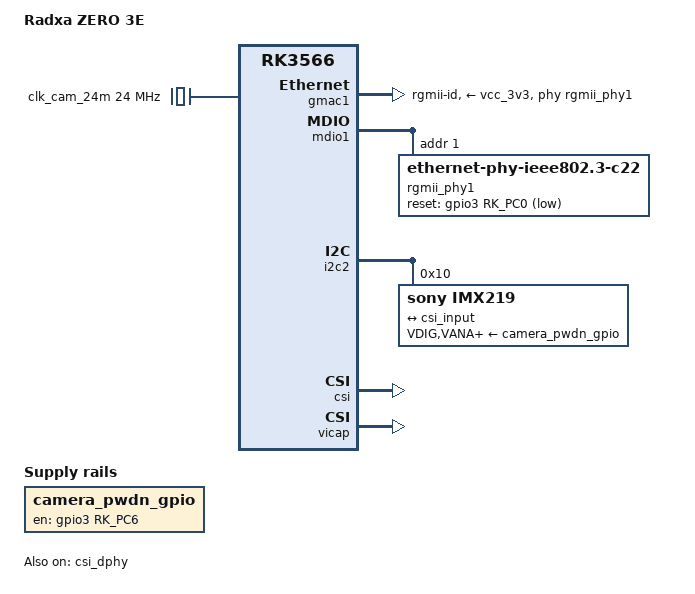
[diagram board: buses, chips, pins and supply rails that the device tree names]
// SPDX-License-Identifier: (GPL-2.0+ OR MIT)

/dts-v1/;

#include "rk3566-radxa-zero-3.dtsi"

/ {
	model = "Radxa ZERO 3E";
	compatible = "radxa,zero-3e", "rockchip,rk3566";

	aliases {
		ethernet0 = &gmac1;
		mmc0 = &sdmmc0;
	};
};

&gmac1 {
	assigned-clocks = <&cru SCLK_GMAC1_RX_TX>, <&cru SCLK_GMAC1>;
	assigned-clock-parents = <&cru SCLK_GMAC1_RGMII_SPEED>, <&cru CLK_MAC1_2TOP>;
	clock_in_out = "input";
	phy-handle = <&rgmii_phy1>;
	phy-mode = "rgmii-id";
	phy-supply = <&vcc_3v3>;
	pinctrl-names = "default";
	pinctrl-0 = <&gmac1m1_miim
		     &gmac1m1_tx_bus2
		     &gmac1m1_rx_bus2
		     &gmac1m1_rgmii_clk
		     &gmac1m1_rgmii_bus
		     &gmac1m1_clkinout>;
	status = "okay";
};

&mdio1 {
	rgmii_phy1: ethernet-phy@1 {
		compatible = "ethernet-phy-ieee802.3-c22";
		reg = <1>;
		pinctrl-names = "default";
		pinctrl-0 = <&gmac1_rstn>;
		reset-assert-us = <20000>;
		reset-deassert-us = <50000>;
		reset-gpios = <&gpio3 RK_PC0 GPIO_ACTIVE_LOW>;
	};
};

&pinctrl {
	gmac1 {
		gmac1_rstn: gmac1-rstn {
			rockchip,pins = <3 RK_PC0 RK_FUNC_GPIO &pcfg_pull_none>;
		};
	};
};

&{/} {
	camera_pwdn_gpio: camera-pwdn-gpio {
		status = "okay";
		compatible = "regulator-fixed";
		regulator-always-on;
		regulator-boot-on;
		enable-active-high;
		gpio = <&gpio3 RK_PC6 GPIO_ACTIVE_HIGH>;
		regulator-name = "camera_pwdn_gpio";
	};

	clk_cam_24m: external-camera-clock-24m {
		status = "okay";
		compatible = "fixed-clock";
		clock-frequency = <24000000>;
		clock-output-names = "clk_cam_24m";
		#clock-cells = <0>;
	};
};

&i2c2 {
	#address-cells = <1>;
	#size-cells = <0>;
	status = "okay";

	imx219: camera-sensor@10 {
		status = "okay";
		compatible = "sony,imx219";
		reg = <0x10>;
		clocks = <&clk_cam_24m>;
		clock-names = "xvclk";
		VDIG-supply = <&camera_pwdn_gpio>;
		VANA-supply = <&camera_pwdn_gpio>;
		VDDL-supply = <&camera_pwdn_gpio>;

		port {
			imx219_output: endpoint {
				remote-endpoint = <&csi_input>;
				data-lanes = <1 2>;
				link-frequencies = /bits/ 64 <456000000>;
			};
		};
	};
};

&pinctrl {
	cam0 {
		cam0_power0_en: cam0-power0-en-pinctrl {
			rockchip,pins = <3 RK_PC6 RK_FUNC_GPIO &pcfg_pull_none>;
		};
	};
};

&csi {
	status = "okay";
};

&csi_in {
	csi_input: endpoint {
		data-lanes = <1 2>;
		remote-endpoint = <&imx219_output>;
	};
};

&csi_dphy {
	status = "okay";
};

&vicap {
	status = "okay";
};

&vicap_mmu {
	status = "okay";
};
